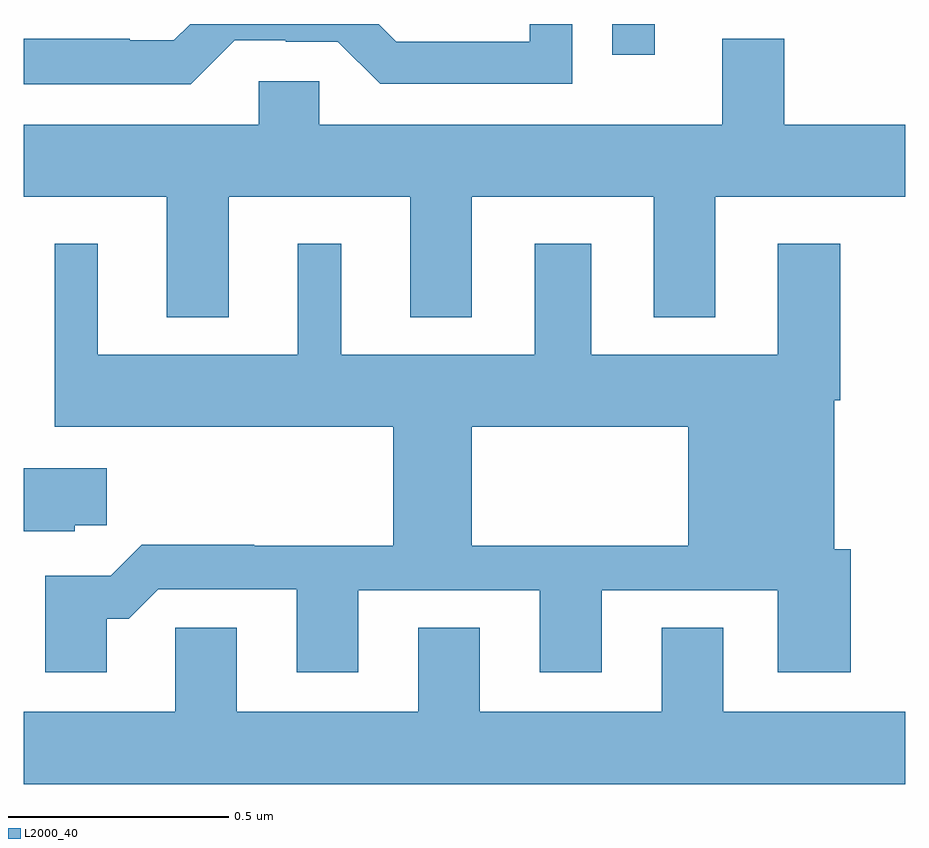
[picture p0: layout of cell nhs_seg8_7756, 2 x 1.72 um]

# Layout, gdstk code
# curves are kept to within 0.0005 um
import gdstk
lib = gdstk.Library(unit=1e-6, precision=1e-09)
def R(c, l, rs):  # rectangles x0, y0, x1, y1
    for r in rs: c.add(gdstk.rectangle(r[:2], r[2:], *l))
def P(c, l, *ps):  # polygons
    for p in ps: c.add(gdstk.Polygon(p, *l))
L2000_40 = (2000, 40)

nhs_seg8_7756 = lib.new_cell('nhs_seg8_7756')
R(nhs_seg8_7756, L2000_40, [(215.335,1108.83,215.431,1108.9)])
P(nhs_seg8_7756, L2000_40, [(214.479,1108.863),(214.595,1108.863),(214.595,1108.86),(214.713,1108.86),(214.809,1108.764),(215.244,1108.764),(215.244,1108.9),(215.148,1108.9),(215.148,1108.86),(214.845,1108.86),(214.805,1108.9),(214.378,1108.9),(214.341,1108.863),(214.241,1108.863),(214.241,1108.867),(214,1108.867),(214,1108.763),(214.379,1108.763)],
  [(214.465,1108.508),(214.877,1108.508),(214.877,1108.235),(215.017,1108.235),(215.017,1108.508),(215.429,1108.508),(215.429,1108.235),(215.569,1108.235),(215.569,1108.508),(216,1108.508),(216,1108.672),(215.725,1108.672),(215.725,1108.867),(215.585,1108.867),(215.585,1108.672),(214.671,1108.672),(214.671,1108.77),(214.533,1108.77),(214.533,1108.672),(214,1108.672),(214,1108.508),(214.325,1108.508),(214.325,1108.235),(214.465,1108.235)],
  [(214.523,1107.719),(214.268,1107.719),(214.197,1107.648),(214.049,1107.648),(214.049,1107.429),(214.189,1107.429),(214.189,1107.551),(214.238,1107.551),(214.305,1107.618),(214.619,1107.618),(214.619,1107.429),(214.759,1107.429),(214.759,1107.615),(215.171,1107.615),(215.171,1107.429),(215.311,1107.429),(215.311,1107.615),(215.711,1107.615),(215.711,1107.429),(215.876,1107.429),(215.876,1107.708),(215.839,1107.708),(215.839,1108.046),(215.852,1108.046),(215.852,1108.402),(215.711,1108.402),(215.711,1108.15),(215.287,1108.15),(215.287,1108.402),(215.159,1108.402),(215.159,1108.15),(214.72,1108.15),(214.72,1108.402),(214.622,1108.402),(214.622,1108.15),(214.168,1108.15),(214.168,1108.402),(214.07,1108.402),(214.07,1107.986),(214.838,1107.986),(214.838,1107.716),(215.016,1107.716),(215.016,1107.986),(215.507,1107.986),(215.507,1107.716),(214.523,1107.716)],
  [(214.116,1107.763),(214.189,1107.763),(214.189,1107.892),(214,1107.892),(214,1107.749),(214.116,1107.749)],
  [(216,1107.34),(215.587,1107.34),(215.587,1107.53),(215.447,1107.53),(215.447,1107.34),(215.035,1107.34),(215.035,1107.53),(214.895,1107.53),(214.895,1107.34),(214.483,1107.34),(214.483,1107.53),(214.344,1107.53),(214.344,1107.34),(214,1107.34),(214,1107.176),(216,1107.176)])

lib.write_gds('nhs_seg8_7756.gds')
